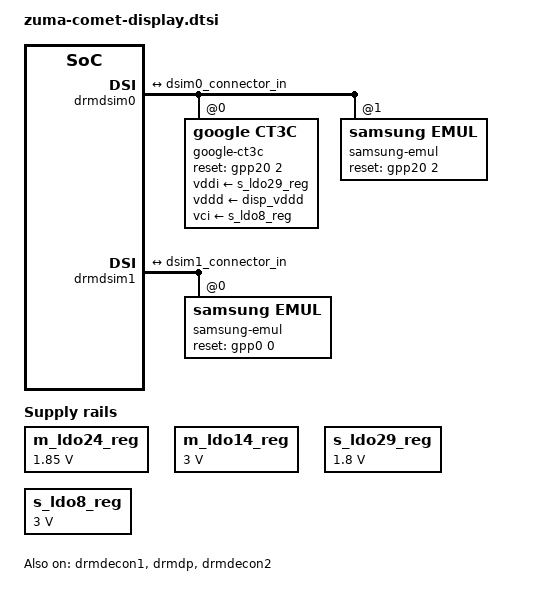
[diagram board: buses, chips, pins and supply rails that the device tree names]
// SPDX-License-Identifier: GPL-2.0-only
/*
 * comet display device tree source
 *
 * Copyright 2023 Google LLC
 *
 */

#include <dt-bindings/gpio/gpio.h>
#include "zuma-comet-connector.dtsi"

&dsim_modes {
	dsim-modes {
		1072x2400 {
			mode-name = "1072x2400";
			pmsk = <
				0x2 0xB3 0x2 0x5CAB /* p m s k */
				>;
			hs-clk = <1102>;
			esc-clk = <20>;
		};
		2152x2076 {
			mode-name = "2152x2076";
			pmsk = <
				0x2 0xDB 0x2 0x1355 /* p m s k */
				>;
			hs-clk = <1346>;
			esc-clk = <20>;
		};
		1080x2424 {
			mode-name = "1080x2424";
			pmsk = <
				0x2 0x8D 0x2 0xC9AB /* p m s k */
				>;
			hs-clk = <865>;
			esc-clk = <20>;
		};
	};
};

&drmdsim0 {
	#address-cells = <1>;
	#size-cells = <0>;

	google_ct3c: panel@0 {
		compatible = "google,ct3c";
		label = "google-ct3c";
		channel = <0>;

		/* reset, power */
		reset-gpios = <&gpp20 2 GPIO_ACTIVE_HIGH>;
		vddi-supply = <&s_ldo29_reg>;
		vddd-supply = <&disp_vddd>;
		vci-supply = <&s_ldo8_reg>;
	};
	panel@1 {
		compatible = "samsung,emul";
		label = "samsung-emul";
		channel = <0>;

		/* reset, power */
		reset-gpios = <&gpp20 2 GPIO_ACTIVE_HIGH>;
	};
	ports {
		#address-cells = <1>;
		#size-cells = <0>;
		port@0 {
			reg = <0>;
			/* output */
			dsim0_connector_out: endpoint {
			remote-endpoint = <&dsim0_connector_in>;
			};
		};
	};
};

&drmdsim1 {
	#address-cells = <1>;
	#size-cells = <0>;
	status = "okay";

	panel@0 {
		compatible = "samsung,emul";
		label = "samsung-emul";
		channel = <0>;

		/* reset, power */
		reset-gpios = <&gpp0 0 GPIO_ACTIVE_HIGH>;
	};
	ports {
		#address-cells = <1>;
		#size-cells = <0>;
		port@0 {
			reg = <0>;
			/* output */
			dsim1_connector_out: endpoint {
			remote-endpoint = <&dsim1_connector_in>;
			};
		};
	};
};

&drmdecon1 {
	status = "okay";
};

&drmdp {
	status = "okay";
	aux-orientation = "auto";
};

&drmdecon2 {
	status = "okay";
};

&m_ldo24_reg {
	regulator-boot-on;
	regulator-min-microvolt = <1850000>;
	regulator-max-microvolt = <1850000>;
	schematic-name = "L24M_INNER_DISP_VDDI";
	subsys-name = "Display";
};

&m_ldo14_reg {
	regulator-boot-on;
	regulator-min-microvolt = <3000000>;
	regulator-max-microvolt = <3000000>;
	schematic-name = "L14M_INNER_DISP_VCI";
	subsys-name = "Display";
};

&disp_vddr_0 {
	status = "okay";
	gpio = <&gpp21 4 GPIO_ACTIVE_HIGH>;
	schematic-name = "INNER_DISP_VDDR";
	subsys-name = "Display";
};

&s_ldo29_reg {
	regulator-boot-on;
	regulator-min-microvolt = <1800000>;
	regulator-max-microvolt = <1800000>;
	schematic-name = "L29S_OUTER_DISP_VDDI";
	subsys-name = "Display";
};

&s_ldo8_reg {
	regulator-boot-on;
	regulator-min-microvolt = <3000000>;
	regulator-max-microvolt = <3000000>;
	schematic-name = "L8S_OUTER_DISP_VCI";
	subsys-name = "Display";
};

&disp_vddd {
	status = "okay";
	gpio = <&s2mpg14_gpio 3 GPIO_ACTIVE_HIGH>;
	schematic-name = "OUTER_DISP_VDDD";
	subsys-name = "Display";
};
